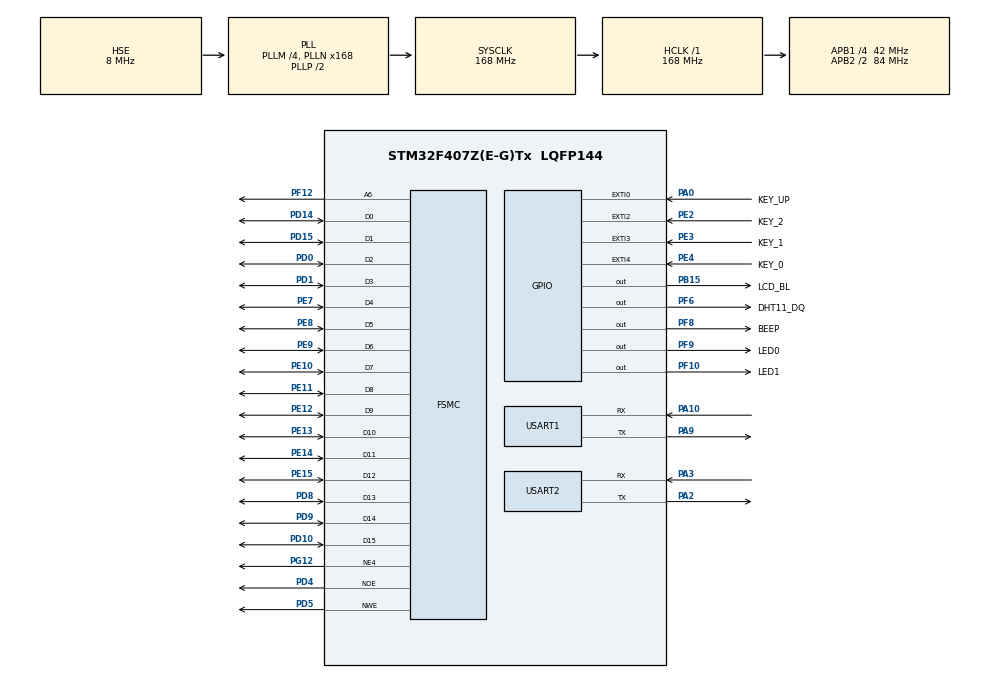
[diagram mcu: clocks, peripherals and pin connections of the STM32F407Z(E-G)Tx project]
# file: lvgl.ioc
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FREERTOS.Tasks01=defaultTask,24,128,StartDefaultTask,Default,NULL,Dynamic,NULL,NULL
FSMC.AddressSetupTime1=0
FSMC.DataSetupTime1=15
FSMC.ExtendedAddressSetupTime1=0
FSMC.ExtendedMode1=FSMC_EXTENDED_MODE_ENABLE
Mcu.Family=STM32F4
Mcu.Name=STM32F407Z(E-G)Tx
Mcu.Package=LQFP144
NVIC.PriorityGroup=NVIC_PRIORITYGROUP_4
NVIC.TIM1_UP_TIM10_IRQn=true\:0\:0\:true\:false\:true\:false\:false\:true\:true
NVIC.TimeBase=TIM1_UP_TIM10_IRQn
NVIC.TimeBaseIP=TIM1
PA0-WKUP.GPIO_Label=KEY_UP
PA0-WKUP.GPIO_ModeDefaultEXTI=GPIO_MODE_IT_RISING
PA0-WKUP.GPIO_PuPd=GPIO_PULLDOWN
PA0-WKUP.Signal=GPXTI0
PA10.Mode=Asynchronous
PA10.Signal=USART1_RX
PA13.Mode=Serial_Wire
PA13.Signal=SYS_JTMS-SWDIO
PA14.Mode=Serial_Wire
PA14.Signal=SYS_JTCK-SWCLK
PA2.Mode=Asynchronous
PA2.Signal=USART2_TX
PA3.Mode=Asynchronous
PA3.Signal=USART2_RX
PA9.Mode=Asynchronous
PA9.Signal=USART1_TX
PB15.GPIO_Label=LCD_BL
PB15.GPIO_ModeDefaultOutputPP=GPIO_MODE_OUTPUT_PP
PB15.GPIO_PuPd=GPIO_PULLUP
PB15.GPIO_Speed=GPIO_SPEED_FREQ_HIGH
PB15.PinState=GPIO_PIN_SET
PB15.Signal=GPIO_Output
PC14-OSC32_IN.Mode=LSE-External-Oscillator
PC14-OSC32_IN.Signal=RCC_OSC32_IN
PC15-OSC32_OUT.Mode=LSE-External-Oscillator
PC15-OSC32_OUT.Signal=RCC_OSC32_OUT
PD0.Signal=FSMC_D2_DA2
PD1.Signal=FSMC_D3_DA3
PD10.Signal=FSMC_D15_DA15
PD14.Signal=FSMC_D0_DA0
PD15.Signal=FSMC_D1_DA1
PD4.Signal=FSMC_NOE
PD5.Signal=FSMC_NWE
PD8.Signal=FSMC_D13_DA13
PD9.Signal=FSMC_D14_DA14
PE10.Signal=FSMC_D7_DA7
PE11.Signal=FSMC_D8_DA8
PE12.Signal=FSMC_D9_DA9
PE13.Signal=FSMC_D10_DA10
PE14.Signal=FSMC_D11_DA11
PE15.Signal=FSMC_D12_DA12
PE2.GPIO_Label=KEY_2
PE2.GPIO_ModeDefaultEXTI=GPIO_MODE_IT_FALLING
PE2.GPIO_PuPd=GPIO_PULLUP
PE2.Signal=GPXTI2
PE3.GPIO_Label=KEY_1
PE3.GPIO_ModeDefaultEXTI=GPIO_MODE_IT_FALLING
PE3.GPIO_PuPd=GPIO_PULLUP
PE3.Signal=GPXTI3
PE4.GPIO_Label=KEY_0
PE4.GPIO_ModeDefaultEXTI=GPIO_MODE_IT_FALLING
PE4.GPIO_PuPd=GPIO_PULLUP
PE4.Signal=GPXTI4
PE7.Signal=FSMC_D4_DA4
PE8.Signal=FSMC_D5_DA5
PE9.Signal=FSMC_D6_DA6
PF10.GPIO_Label=LED1
PF10.GPIO_PuPd=GPIO_NOPULL
PF10.GPIO_Speed=GPIO_SPEED_FREQ_HIGH
PF10.PinState=GPIO_PIN_SET
PF10.Signal=GPIO_Output
PF12.Signal=FSMC_A6
PF6.GPIO_Label=DHT11_DQ
PF6.GPIO_ModeDefaultOutputPP=GPIO_MODE_OUTPUT_OD
PF6.GPIO_PuPd=GPIO_PULLUP
PF6.GPIO_Speed=GPIO_SPEED_FREQ_HIGH
PF6.PinState=GPIO_PIN_RESET
PF6.Signal=GPIO_Output
PF8.GPIO_Label=BEEP
PF8.GPIO_ModeDefaultOutputPP=GPIO_MODE_OUTPUT_PP
PF8.GPIO_PuPd=GPIO_NOPULL
PF8.GPIO_Speed=GPIO_SPEED_FREQ_HIGH
PF8.PinState=GPIO_PIN_RESET
PF8.Signal=GPIO_Output
PF9.GPIO_Label=LED0
PF9.GPIO_PuPd=GPIO_NOPULL
PF9.GPIO_Speed=GPIO_SPEED_FREQ_HIGH
PF9.PinState=GPIO_PIN_SET
PF9.Signal=GPIO_Output
PG12.Mode=NorPsramChipSelect4_1
PG12.Signal=FSMC_NE4
PH0-OSC_IN.Mode=HSE-External-Oscillator
PH0-OSC_IN.Signal=RCC_OSC_IN
PH1-OSC_OUT.Mode=HSE-External-Oscillator
PH1-OSC_OUT.Signal=RCC_OSC_OUT
ProjectManager.HeapSize=0x200
ProjectManager.StackSize=0x400
ProjectManager.TargetToolchain=Makefile
RCC.48MHZClocksFreq_Value=84000000
RCC.AHBFreq_Value=168000000
RCC.APB1CLKDivider=RCC_HCLK_DIV4
RCC.APB1Freq_Value=42000000
RCC.APB1TimFreq_Value=84000000
RCC.APB2CLKDivider=RCC_HCLK_DIV2
RCC.APB2Freq_Value=84000000
RCC.APB2TimFreq_Value=168000000
RCC.CortexFreq_Value=168000000
RCC.HCLKFreq_Value=168000000
RCC.HSE_VALUE=8000000
RCC.HSI_VALUE=16000000
RCC.PLLM=4
RCC.PLLN=168
RCC.PLLSourceVirtual=RCC_PLLSOURCE_HSE
RCC.RCC_RTC_Clock_Source=RCC_RTCCLKSOURCE_LSE
RCC.RCC_RTC_Clock_SourceVirtual=RCC_RTCCLKSOURCE_LSE
RCC.SYSCLKFreq_VALUE=168000000
RCC.SYSCLKSource=RCC_SYSCLKSOURCE_PLLCLK
RCC.VCOOutputFreq_Value=336000000
SH.FSMC_A6.0=FSMC_A6,A6_1
SH.FSMC_D0_DA0.0=FSMC_D0,16b-d1
SH.FSMC_D10_DA10.0=FSMC_D10,16b-d1
SH.FSMC_D11_DA11.0=FSMC_D11,16b-d1
SH.FSMC_D12_DA12.0=FSMC_D12,16b-d1
SH.FSMC_D13_DA13.0=FSMC_D13,16b-d1
SH.FSMC_D14_DA14.0=FSMC_D14,16b-d1
SH.FSMC_D15_DA15.0=FSMC_D15,16b-d1
SH.FSMC_D1_DA1.0=FSMC_D1,16b-d1
SH.FSMC_D2_DA2.0=FSMC_D2,16b-d1
SH.FSMC_D3_DA3.0=FSMC_D3,16b-d1
SH.FSMC_D4_DA4.0=FSMC_D4,16b-d1
SH.FSMC_D5_DA5.0=FSMC_D5,16b-d1
SH.FSMC_D6_DA6.0=FSMC_D6,16b-d1
SH.FSMC_D7_DA7.0=FSMC_D7,16b-d1
SH.FSMC_D8_DA8.0=FSMC_D8,16b-d1
SH.FSMC_D9_DA9.0=FSMC_D9,16b-d1
SH.FSMC_NOE.0=FSMC_NOE,Lcd1
SH.FSMC_NWE.0=FSMC_NWE,Lcd1
USART1.VirtualMode=VM_ASYNC
USART2.VirtualMode=VM_ASYNC
VP_FREERTOS_VS_CMSIS_V2.Mode=CMSIS_V2
VP_RTC_VS_RTC_Activate.Mode=RTC_Enabled
VP_RTC_VS_RTC_Calendar.Mode=RTC_Calendar
VP_SYS_VS_tim1.Mode=TIM1
board=custom

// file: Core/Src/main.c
/* USER CODE BEGIN Header */
/**
  ******************************************************************************
  * @file           : main.c
  * @brief          : Main program body
  ******************************************************************************
  * @attention
  *
  * Copyright (c) 2026 STMicroelectronics.
  * All rights reserved.
  *
  * This software is licensed under terms that can be found in the LICENSE file
  * in the root directory of this software component.
  * If no LICENSE file comes with this software, it is provided AS-IS.
  *
  ******************************************************************************
  */
/* USER CODE END Header */
#include "main.h"
#include "cmsis_os.h"
#include "rtc.h"
#include "usart.h"
#include "gpio.h"
#include "fsmc.h"

/* USER CODE BEGIN Includes */
#include "led.h"
#include "bsp_usart.h"
#include "bsp_key.h"
#include "bsp_dht11.h"
#include "bsp_delay.h"
#include "lcd.h"
#include "weather.h"
#include "bsp_espat.h"
#include "page.h"
#include "app.h"
#include "FreeRTOS.h"
#include "task.h"
#include <stdio.h>
/* USER CODE END Includes */

void SystemClock_Config(void);
void MX_FREERTOS_Init(void);

/* USER CODE BEGIN 0 */
void vAssertCalled(const char *file, int line)
{
    taskDISABLE_INTERRUPTS();
    for (;;);
}

void vApplicationStackOverflowHook(TaskHandle_t xTask, char *pcTaskName)
{
    (void)xTask;
    (void)pcTaskName;
    taskDISABLE_INTERRUPTS();
    for (;;);
}

void vApplicationMallocFailedHook(void)
{
    taskDISABLE_INTERRUPTS();
    for (;;);
}
/* USER CODE END 0 */

int main(void)
{

  /* MCU Configuration--------------------------------------------------------*/

  /* Reset of all peripherals, Initializes the Flash interface and the Systick. */
  HAL_Init();

  /* Configure the system clock */
  SystemClock_Config();

  /* Initialize all configured peripherals */
  MX_GPIO_Init();
  MX_USART1_UART_Init();
  MX_FSMC_Init();
  MX_USART2_UART_Init();
  MX_RTC_Init();
  /* USER CODE BEGIN 2 */
  printf("[MAIN] Hardware init complete\n");
  printf("[MAIN] SystemCoreClock = %lu\n", SystemCoreClock);

  DWT_Delay_Init();
  printf("[MAIN] DWT init done\n");

  dht11_init();
  printf("[MAIN] DHT11 init done\n");

  lcd_init();
  printf("[MAIN] LCD init done\n");

  welcome_page_display();
  printf("[MAIN] Welcome page displayed\n");

  /* USER CODE END 2 */

  /* Init scheduler */
  osKernelInitialize();  /* Call init function for freertos objects (in cmsis_os2.c) */
  MX_FREERTOS_Init();

  /* Start scheduler */
  osKernelStart();

  /* We should never get here as control is now taken by the scheduler */

  /* Infinite loop */
  while (1)
  {

  }
}

void SystemClock_Config(void)
{
  RCC_OscInitTypeDef RCC_OscInitStruct = {0};
  RCC_ClkInitTypeDef RCC_ClkInitStruct = {0};

  /** Configure the main internal regulator output voltage
  */
  __HAL_RCC_PWR_CLK_ENABLE();
  __HAL_PWR_VOLTAGESCALING_CONFIG(PWR_REGULATOR_VOLTAGE_SCALE1);

  /** Initializes the RCC Oscillators according to the specified parameters
  * in the RCC_OscInitTypeDef structure.
  */
  RCC_OscInitStruct.OscillatorType = RCC_OSCILLATORTYPE_HSE|RCC_OSCILLATORTYPE_LSE;
  RCC_OscInitStruct.HSEState = RCC_HSE_ON;
  RCC_OscInitStruct.LSEState = RCC_LSE_ON;
  RCC_OscInitStruct.PLL.PLLState = RCC_PLL_ON;
  RCC_OscInitStruct.PLL.PLLSource = RCC_PLLSOURCE_HSE;
  RCC_OscInitStruct.PLL.PLLM = 4;
  RCC_OscInitStruct.PLL.PLLN = 168;
  RCC_OscInitStruct.PLL.PLLP = RCC_PLLP_DIV2;
  RCC_OscInitStruct.PLL.PLLQ = 4;
  if (HAL_RCC_OscConfig(&RCC_OscInitStruct) != HAL_OK)
  {
    Error_Handler();
  }

  /** Initializes the CPU, AHB and APB buses clocks
  */
  RCC_ClkInitStruct.ClockType = RCC_CLOCKTYPE_HCLK|RCC_CLOCKTYPE_SYSCLK
                              |RCC_CLOCKTYPE_PCLK1|RCC_CLOCKTYPE_PCLK2;
  RCC_ClkInitStruct.SYSCLKSource = RCC_SYSCLKSOURCE_PLLCLK;
  RCC_ClkInitStruct.AHBCLKDivider = RCC_SYSCLK_DIV1;
  RCC_ClkInitStruct.APB1CLKDivider = RCC_HCLK_DIV4;
  RCC_ClkInitStruct.APB2CLKDivider = RCC_HCLK_DIV2;

  if (HAL_RCC_ClockConfig(&RCC_ClkInitStruct, FLASH_LATENCY_5) != HAL_OK)
  {
    Error_Handler();
  }
}

void HAL_TIM_PeriodElapsedCallback(TIM_HandleTypeDef *htim)
{
  if (htim->Instance == TIM1)
  {
    HAL_IncTick();
  }
}

void Error_Handler(void)
{
  __disable_irq();
  while (1)
  {
  }
}

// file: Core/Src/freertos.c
/* USER CODE BEGIN Header */
/**
  ******************************************************************************
  * File Name          : freertos.c
  * Description        : Code for freertos applications
  ******************************************************************************
  * @attention
  *
  * Copyright (c) 2026 STMicroelectronics.
  * All rights reserved.
  *
  * This software is licensed under terms that can be found in the LICENSE file
  * in the root directory of this software component.
  * If no LICENSE file comes with this software, it is provided AS-IS.
  *
  ******************************************************************************
  */
/* USER CODE END Header */

#include "FreeRTOS.h"
#include "task.h"
#include "main.h"
#include "cmsis_os.h"

/* USER CODE BEGIN Includes */
#include "bsp_usart.h"
#include "bsp_dht11.h"
#include "bsp_delay.h"
#include "bsp_rtc.h"
#include "bsp_espat.h"
#include "lcd.h"
#include "weather.h"
#include "page.h"
#include "app.h"
#include <stdio.h>
#include <string.h>
#include "stm32f4xx.h"

extern int __io_putchar(int ch);
/* USER CODE END Includes */

/* USER CODE BEGIN Variables */
static osMutexId_t lcd_mutex = NULL;
static osEventFlagsId_t app_events = NULL;
static osTimerId_t led_timer = NULL;

#define EVENT_WIFI_CONNECTED   (1 << 0)
#define EVENT_TIME_SYNCED      (1 << 1)

#define DEBUG_ENABLED  1

#if DEBUG_ENABLED
#define DEBUG_PRINTF(fmt, ...) printf(fmt, ##__VA_ARGS__)
#else
#define DEBUG_PRINTF(fmt, ...)
#endif
/* USER CODE END Variables */
/* Definitions for defaultTask */
osThreadId_t defaultTaskHandle;
const osThreadAttr_t defaultTask_attributes = {
  .name = "defaultTask",
  .stack_size = 128 * 4,
  .priority = (osPriority_t) osPriorityNormal,
};

/* USER CODE BEGIN Definitions */
osThreadId_t wifiTaskHandle;
const osThreadAttr_t wifiTask_attributes = {
  .name = "wifiTask",
  .stack_size = 512 * 4,
  .priority = (osPriority_t) osPriorityHigh,
};

osThreadId_t timeTaskHandle;
const osThreadAttr_t timeTask_attributes = {
  .name = "timeTask",
  .stack_size = 256 * 4,
  .priority = (osPriority_t) osPriorityNormal,
};

osThreadId_t sensorTaskHandle;
const osThreadAttr_t sensorTask_attributes = {
  .name = "sensorTask",
  .stack_size = 256 * 4,
  .priority = (osPriority_t) osPriorityNormal,
};

osThreadId_t weatherTaskHandle;
const osThreadAttr_t weatherTask_attributes = {
  .name = "weatherTask",
  .stack_size = 512 * 4,
  .priority = (osPriority_t) osPriorityBelowNormal,
};
/* USER CODE END Definitions */

/* USER CODE BEGIN FunctionPrototypes */
void StartWifiTask(void *argument);
void StartTimeTask(void *argument);
void StartSensorTask(void *argument);
void StartWeatherTask(void *argument);
static void LedTimerCallback(void *argument);
/* USER CODE END FunctionPrototypes */

void StartDefaultTask(void *argument);

void MX_FREERTOS_Init(void); /* (MISRA C 2004 rule 8.1) */

void MX_FREERTOS_Init(void) {

  /* USER CODE BEGIN RTOS_MUTEX */
  lcd_mutex = osMutexNew(NULL);
  app_events = osEventFlagsNew(NULL);
  /* USER CODE END RTOS_MUTEX */

  /* USER CODE BEGIN RTOS_TIMERS */
  osTimerAttr_t led_timer_attr = {
      .name = "ledTimer"
  };
  led_timer = osTimerNew(LedTimerCallback, osTimerPeriodic, NULL, &led_timer_attr);
  if (led_timer != NULL)
  {
      osTimerStart(led_timer, 500);
  }
  /* USER CODE END RTOS_TIMERS */

  /* Create the thread(s) */
  /* creation of defaultTask */
  defaultTaskHandle = osThreadNew(StartDefaultTask, NULL, &defaultTask_attributes);

  /* USER CODE BEGIN RTOS_THREADS */
  wifiTaskHandle = osThreadNew(StartWifiTask, NULL, &wifiTask_attributes);
  DEBUG_PRINTF("[FREERTOS] wifiTask created: %p\n", (void*)wifiTaskHandle);

  timeTaskHandle = osThreadNew(StartTimeTask, NULL, &timeTask_attributes);
  DEBUG_PRINTF("[FREERTOS] timeTask created: %p\n", (void*)timeTaskHandle);

  sensorTaskHandle = osThreadNew(StartSensorTask, NULL, &sensorTask_attributes);
  DEBUG_PRINTF("[FREERTOS] sensorTask created: %p\n", (void*)sensorTaskHandle);

  weatherTaskHandle = osThreadNew(StartWeatherTask, NULL, &weatherTask_attributes);
  DEBUG_PRINTF("[FREERTOS] weatherTask created: %p\n", (void*)weatherTaskHandle);
  /* USER CODE END RTOS_THREADS */

}

void StartDefaultTask(void *argument)
{
  /* USER CODE BEGIN StartDefaultTask */
  DEBUG_PRINTF("[DEFAULT_TASK] Starting...\n");
  for(;;)
  {
    vTaskDelay(pdMS_TO_TICKS(10000));
  }
  /* USER CODE END StartDefaultTask */
}

/* USER CODE BEGIN Application */

static void LedTimerCallback(void *argument)
{
    (void)argument;
    HAL_GPIO_TogglePin(GPIOF, GPIO_PIN_9);
}

uint8_t time_is_synced(void)
{
    if (app_events == NULL) return 0;
    return (osEventFlagsGet(app_events) & EVENT_TIME_SYNCED) != 0;
}

uint8_t wifi_is_ready(void)
{
    if (app_events == NULL) return 0;
    return (osEventFlagsGet(app_events) & EVENT_WIFI_CONNECTED) != 0;
}

void lcd_lock(void)
{
    if (lcd_mutex != NULL)
    {
        osMutexAcquire(lcd_mutex, osWaitForever);
    }
}

void lcd_unlock(void)
{
    if (lcd_mutex != NULL)
    {
        osMutexRelease(lcd_mutex);
    }
}

void StartWifiTask(void *argument)
{
    DEBUG_PRINTF("[WIFI_TASK] Starting...\n");

    vTaskDelay(pdMS_TO_TICKS(2000));

    wifi_page_display();

    wifi_init();

    DEBUG_PRINTF("[WIFI_TASK] Connecting to %s...\n", WIFI_SSID);

    while (1)
    {
        if (esp_at_connect_wifi(WIFI_SSID, WIFI_PASSWD, NULL))
        {
            DEBUG_PRINTF("[WIFI_TASK] WiFi Connected\n");
            osEventFlagsSet(app_events, EVENT_WIFI_CONNECTED);

            esp_wifi_info_t wifi = {0};
            if (esp_at_get_wifi_info(&wifi) && wifi.connected)
            {
                DEBUG_PRINTF("[WIFI_TASK] SSID: %s\n", wifi.ssid);
            }
            break;
        }
        else
        {
            DEBUG_PRINTF("[WIFI_TASK] WiFi Connect failed, retry in 3s...\n");
            vTaskDelay(pdMS_TO_TICKS(3000));
        }
    }

    main_page_display();

    DEBUG_PRINTF("[WIFI_TASK] Main page displayed, entering monitor loop\n");

    uint8_t disconnect_count = 0;

    for (;;)
    {
        esp_wifi_info_t wifi = {0};
        if (esp_at_get_wifi_info(&wifi))
        {
            if (!wifi.connected)
            {
                disconnect_count++;
                if (disconnect_count >= 3)
                {
                    DEBUG_PRINTF("[WIFI_TASK] Connection lost, reconnecting...\n");
                    osEventFlagsClear(app_events, EVENT_WIFI_CONNECTED);

                    if (esp_at_connect_wifi(WIFI_SSID, WIFI_PASSWD, NULL))
                    {
                        DEBUG_PRINTF("[WIFI_TASK] Reconnected\n");
                        osEventFlagsSet(app_events, EVENT_WIFI_CONNECTED);
                        disconnect_count = 0;
                    }
                }
            }
            else
            {
                disconnect_count = 0;
            }
        }

        vTaskDelay(pdMS_TO_TICKS(5000));
    }
}

void StartTimeTask(void *argument)
{
    DEBUG_PRINTF("[TIME_TASK] Starting...\n");

    DEBUG_PRINTF("[TIME_TASK] Waiting for WiFi...\n");
    osEventFlagsWait(app_events, EVENT_WIFI_CONNECTED, osFlagsWaitAll, osWaitForever);

    DEBUG_PRINTF("[TIME_TASK] WiFi connected, syncing time...\n");

    for (;;)
    {
        if (!time_is_synced())
        {
            esp_date_time_t esp_date = {0};
            if (esp_at_sntp_get_time(&esp_date) && esp_date.year >= 2020)
            {
                DEBUG_PRINTF("[TIME_TASK] SNTP: %04u-%02u-%02u %02u:%02u:%02u\n",
                    esp_date.year, esp_date.month, esp_date.day,
                    esp_date.hour, esp_date.minute, esp_date.second);

                rtc_date_time_t rtc_date = {0};
                rtc_date.year = esp_date.year;
                rtc_date.month = esp_date.month;
                rtc_date.day = esp_date.day;
                rtc_date.hour = esp_date.hour;
                rtc_date.minute = esp_date.minute;
                rtc_date.second = esp_date.second;
                rtc_date.weekday = esp_date.weekday;

                bsp_rtc_set_time(&rtc_date);
                osEventFlagsSet(app_events, EVENT_TIME_SYNCED);
                DEBUG_PRINTF("[TIME_TASK] Time synced\n");
            }
            else
            {
                DEBUG_PRINTF("[TIME_TASK] SNTP failed, retry in 2s...\n");
                vTaskDelay(pdMS_TO_TICKS(2000));
                continue;
            }
        }

        if (time_is_synced())
        {
            rtc_date_time_t date;
            bsp_rtc_get_time(&date);

            if (date.year >= 2020)
            {
                main_page_redraw_time(&date);
                main_page_redraw_date(&date);
            }
        }

        vTaskDelay(pdMS_TO_TICKS(1000));
    }
}

void StartSensorTask(void *argument)
{
    DEBUG_PRINTF("[SENSOR_TASK] Starting...\n");

    vTaskDelay(pdMS_TO_TICKS(3000));

    static uint8_t last_temp = 0;
    static uint8_t last_humid = 0;
    static uint8_t has_valid_data = 0;

    for (;;)
    {
        uint8_t temp = 0, humid = 0;

        if (dht11_read_data(&temp, &humid) == 0)
        {
            last_temp = temp;
            last_humid = humid;
            has_valid_data = 1;

            DEBUG_PRINTF("[SENSOR_TASK] T=%dC, H=%d%%\n", temp, humid);
            main_page_redraw_inner_temperature((float)temp);
            main_page_redraw_inner_humidity((float)humid);
        }
        else
        {
            DEBUG_PRINTF("[SENSOR_TASK] DHT11 read failed\n");

            if (has_valid_data)
            {
                DEBUG_PRINTF("[SENSOR_TASK] Using last valid: T=%dC, H=%d%%\n", last_temp, last_humid);
            }
        }

        vTaskDelay(pdMS_TO_TICKS(3000));
    }
}

void StartWeatherTask(void *argument)
{
    DEBUG_PRINTF("[WEATHER_TASK] Starting...\n");

    DEBUG_PRINTF("[WEATHER_TASK] Waiting for WiFi...\n");
    osEventFlagsWait(app_events, EVENT_WIFI_CONNECTED, osFlagsWaitAll, osWaitForever);

    vTaskDelay(pdMS_TO_TICKS(2000));

    DEBUG_PRINTF("[WEATHER_TASK] WiFi connected, fetching weather...\n");

    static const char *weather_url = "http://api.seniverse.com/v3/weather/now.json?key=SMrYk_pYNmh3z37k5&location=Hengyang&language=en&unit=c";
    static weather_info_t last_weather = {0};

    for (;;)
    {
        DEBUG_PRINTF("[WEATHER_TASK] Fetching weather...\n");

        const char *response = esp_at_http_get(weather_url);

        if (response != NULL)
        {
            DEBUG_PRINTF("[WEATHER_TASK] Response: %.200s...\n", response);

            const char *json_start = strchr(response, '{');
            if (json_start != NULL)
            {
                weather_info_t weather = {0};
                if (parse_seniverse_response(json_start, &weather))
                {
                    DEBUG_PRINTF("[WEATHER_TASK] Parsed: city=%s, weather=%s, temp=%d, code=%d\n",
                        weather.city, weather.weather, weather.temperature, weather.weather_code);

                    if (memcmp(&last_weather, &weather, sizeof(weather_info_t)) != 0)
                    {
                        memcpy(&last_weather, &weather, sizeof(weather_info_t));
                        DEBUG_PRINTF("[WEATHER_TASK] %s, %s, %dC, code=%d\n",
                            weather.city, weather.weather, weather.temperature, weather.weather_code);

                        main_page_redraw_outdoor_temperature(weather.temperature);
                        main_page_redraw_outdoor_weather_icon(weather.weather_code);
                    }
                }
                else
                {
                    DEBUG_PRINTF("[WEATHER_TASK] Parse failed, JSON: %.100s\n", json_start);
                }
            }
            else
            {
                DEBUG_PRINTF("[WEATHER_TASK] No JSON found in response\n");
            }
        }
        else
        {
            DEBUG_PRINTF("[WEATHER_TASK] HTTP failed\n");
        }

        vTaskDelay(pdMS_TO_TICKS(60000));
    }
}

/* USER CODE END Application */
